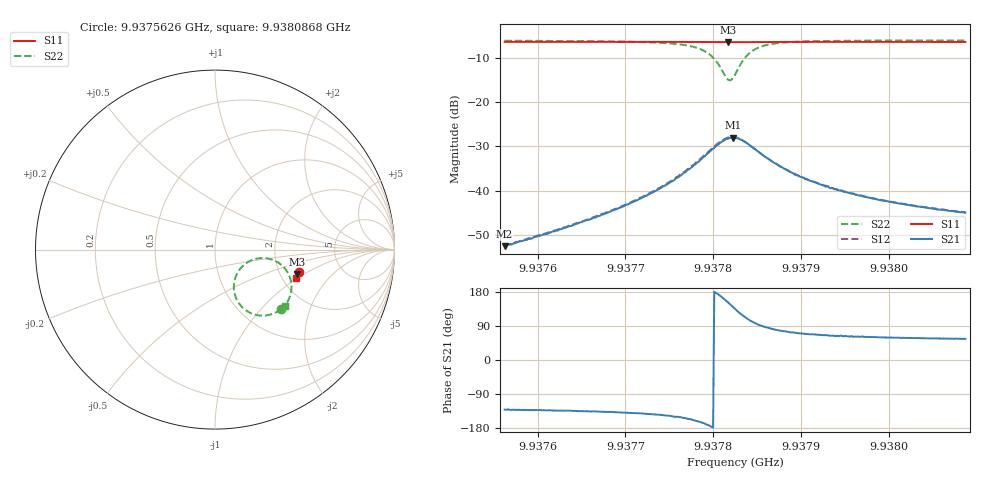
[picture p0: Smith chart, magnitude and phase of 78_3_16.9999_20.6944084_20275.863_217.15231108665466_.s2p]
#  HZ  S  RI  R  50.00
! Rohde & Schwarz Vector Network Analyzer
! Rohde-Schwarz,ZNB20-2Port,1311601062101988,3.16
! Created: UTC 3/20/2024, 10:55:37 PM
! freq[Hz]  re:S11  im:S11  re:S21  im:S21  re:S12  im:S12  re:S22  im:S22
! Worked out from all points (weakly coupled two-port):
!   401 points, 9.9375626 GHz to 9.9380868 GHz, reference 50 ohm
!   highest |S21| = -28.03 dB at 9.9378221 GHz (marker M1); lowest = -52.6 dB at 9.9375626 GHz (marker M2)
!   lowest |S11| = -6.4 dB at 9.9378168 GHz (marker M3), VSWR 2.82, Z = 123 - j43.9 ohm
!   |S11| at or under -10 dB: nowhere
!   |S22| runs from -15.0 to -6.0 dB; largest |S21 - S12| = 0.0023
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9.93756256e9  0.4662 -0.1233  -0.00153 -0.00178  -0.00161 -0.00179  0.368 -0.3314
9.93761106e9  0.465 -0.1266  -0.00219 -0.00237  -0.00229 -0.00242  0.3596 -0.3378
9.93765038e9  0.4641 -0.1292  -0.0031 -0.00312  -0.0032 -0.00313  0.3497 -0.3443
9.93769625e9  0.4628 -0.1326  -0.0049 -0.00434  -0.00504 -0.00436  0.3312 -0.3542
9.9377382e9  0.4615 -0.1355  -0.0085 -0.00603  -0.00881 -0.00602  0.2979 -0.3648
9.93776965e9  0.4599 -0.1379  -0.015 -0.0073  -0.0154 -0.007  0.242 -0.3664
9.93778931e9  0.4586 -0.1391  -0.0233 -0.00543  -0.0244 -0.0049  0.1743 -0.3395
9.93780111e9  0.4572 -0.1394  -0.0304 1.68e-05  -0.0315 0.00117  0.1238 -0.283
9.93781029e9  0.4563 -0.1389  -0.0348 0.00938  -0.0354 0.0111  0.1053 -0.2002
9.93781684e9  0.4559 -0.1383  -0.0342 0.0183  -0.0343 0.0205  0.1259 -0.1282
9.93781946e9  0.4561 -0.1381  -0.0328 0.0219  -0.0324 0.024  0.1442 -0.1024
9.93782208e9  0.4563 -0.1379  -0.0307 0.0251  -0.0299 0.0273  0.1676 -0.0802
9.9378247e9  0.4563 -0.1376  -0.0279 0.028  -0.0269 0.0299  0.1943 -0.0635
9.93783126e9  0.4571 -0.1373  -0.0198 0.0322  -0.0183 0.0333  0.2661 -0.047
9.93783781e9  0.4578 -0.1377  -0.0119 0.0325  -0.0105 0.033  0.3273 -0.0594
9.93785092e9  0.459 -0.1387  -0.00171 0.0276  -0.000828 0.0277  0.3961 -0.1141
9.93786403e9  0.4592 -0.1401  0.00257 0.0221  0.00301 0.0221  0.42 -0.1633
9.93788369e9  0.459 -0.1421  0.00454 0.0164  0.00493 0.0164  0.4261 -0.2117
9.93791252e9  0.4585 -0.1445  0.00475 0.0118  0.00514 0.0117  0.4207 -0.2504
9.93795184e9  0.4576 -0.1474  0.00438 0.00849  0.00458 0.00836  0.4108 -0.2773
9.93800034e9  0.4562 -0.1507  0.0038 0.00641  0.00395 0.00641  0.401 -0.2947
9.93808685e9  0.454 -0.1565  0.00316 0.00464  0.00328 0.00461  0.3894 -0.3118
